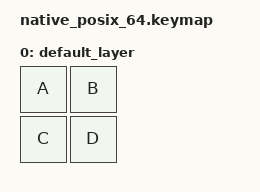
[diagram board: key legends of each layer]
/*
 * Test: basic-press-release
 *
 * A standard combo (positions 0+1 → X).  Press both keys within the timeout
 * window, then release.  Verifies baseline combo detection works.
 *
 * Sequence: press(0, 0ms), press(1, 10ms), release(0, 200ms), release(1, 10ms)
 * Expected: press X, release X
 */

#include <dt-bindings/zmk/keys.h>
#include <behaviors.dtsi>
#include <dt-bindings/zmk/kscan_mock.h>

/ {
    rolling_combos {
        compatible = "zmk,rolling-combos";
        combo_x {
            timeout-ms = <50>;
            key-positions = <0 1>;
            bindings = <&kp X>;
        };
    };

    keymap {
        compatible = "zmk,keymap";
        default_layer {
            bindings = <
                &kp A &kp B
                &kp C &kp D
            >;
        };
    };
};

&kscan {
    events = <
        ZMK_MOCK_PRESS(0, 0, 0)
        ZMK_MOCK_PRESS(0, 1, 10)
        ZMK_MOCK_RELEASE(0, 0, 200)
        ZMK_MOCK_RELEASE(0, 1, 10)
    >;
};
